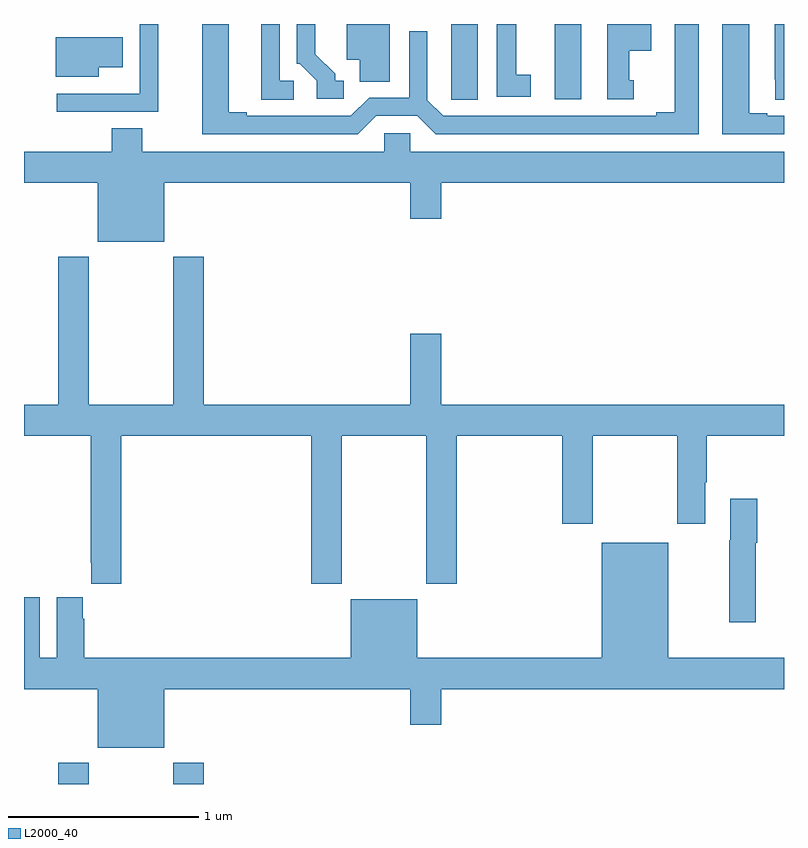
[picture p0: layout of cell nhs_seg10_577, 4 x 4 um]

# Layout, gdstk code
import gdstk
lib = gdstk.Library(unit=1e-6, precision=1e-09)
def R(c, l, rs):  # rectangles x0, y0, x1, y1
    for r in rs: c.add(gdstk.rectangle(r[:2], r[2:], *l))
def P(c, l, *ps):  # polygons
    for p in ps: c.add(gdstk.Polygon(p, *l))
L2000_40 = (2000, 40)

nhs_seg10_577 = lib.new_cell('nhs_seg10_577')
R(nhs_seg10_577, L2000_40, [(139.181,1282.5,139.341,1282.612), (139.786,1282.5,139.946,1282.612), (141.794,1286.103,141.934,1286.5)])
P(nhs_seg10_577, L2000_40, [(139.707,1286.5),(139.608,1286.5),(139.608,1286.134),(139.607,1286.134),(139.607,1286.133),(139.173,1286.133),(139.173,1286.037),(139.707,1286.037)],
  [(140.683,1286.202),(140.638,1286.202),(140.638,1286.237),(140.533,1286.342),(140.533,1286.5),(140.436,1286.5),(140.436,1286.292),(140.451,1286.292),(140.541,1286.202),(140.541,1286.106),(140.683,1286.106)],
  [(142.21,1286.205),(142.186,1286.205),(142.186,1286.36),(142.3,1286.36),(142.3,1286.5),(142.07,1286.5),(142.07,1286.103),(142.21,1286.103)],
  [(141.667,1286.234),(141.592,1286.234),(141.592,1286.5),(141.488,1286.5),(141.488,1286.118),(141.667,1286.118)],
  [(140.853,1286.016),(141.071,1286.016),(141.167,1285.92),(142.552,1285.92),(142.552,1286.5),(142.424,1286.5),(142.424,1286.036),(142.328,1286.036),(142.328,1286.016),(141.207,1286.016),(141.123,1286.1),(141.123,1286.461),(141.027,1286.461),(141.027,1286.112),(140.817,1286.112),(140.721,1286.016),(140.173,1286.016),(140.173,1286.036),(140.077,1286.036),(140.077,1286.5),(139.937,1286.5),(139.937,1285.92),(140.757,1285.92)],
  [(143,1286.016),(142.912,1286.016),(142.912,1286.031),(142.816,1286.031),(142.816,1286.5),(142.676,1286.5),(142.676,1285.92),(143,1285.92)],
  [(140.419,1286.202),(140.346,1286.202),(140.346,1286.5),(140.249,1286.5),(140.249,1286.101),(140.419,1286.101)],
  [(143,1286.5),(142.952,1286.5),(142.952,1286.209),(142.953,1286.209),(142.953,1286.101),(143,1286.101)],
  [(140.926,1286.5),(140.699,1286.5),(140.699,1286.312),(140.768,1286.312),(140.768,1286.197),(140.926,1286.197)],
  [(141.388,1286.5),(141.248,1286.5),(141.248,1286.209),(141.249,1286.209),(141.249,1286.101),(141.388,1286.101)],
  [(139.393,1286.273),(139.519,1286.273),(139.519,1286.431),(139.166,1286.431),(139.166,1286.222),(139.393,1286.222)],
  [(139.738,1285.664),(141.032,1285.664),(141.032,1285.476),(141.196,1285.476),(141.196,1285.664),(143,1285.664),(143,1285.828),(141.033,1285.828),(141.033,1285.926),(140.895,1285.926),(140.895,1285.828),(139.623,1285.828),(139.623,1285.952),(139.463,1285.952),(139.463,1285.828),(139,1285.828),(139,1285.664),(139.388,1285.664),(139.388,1285.355),(139.738,1285.355)],
  [(139.511,1284.332),(140.513,1284.332),(140.513,1283.553),(140.673,1283.553),(140.673,1284.332),(141.118,1284.332),(141.118,1283.553),(141.278,1283.553),(141.278,1284.332),(141.833,1284.332),(141.833,1283.871),(141.993,1283.871),(141.993,1284.332),(142.438,1284.332),(142.438,1283.871),(142.585,1283.871),(142.585,1284.088),(142.593,1284.088),(142.593,1284.332),(143,1284.332),(143,1284.496),(141.196,1284.496),(141.196,1284.871),(141.032,1284.871),(141.032,1284.496),(139.946,1284.496),(139.946,1285.276),(139.786,1285.276),(139.786,1284.496),(139.341,1284.496),(139.341,1285.276),(139.181,1285.276),(139.181,1284.496),(139,1284.496),(139,1284.332),(139.351,1284.332),(139.351,1283.665),(139.355,1283.665),(139.355,1283.553),(139.511,1283.553)],
  [(142.852,1283.77),(142.86,1283.77),(142.86,1284.001),(142.718,1284.001),(142.718,1283.783),(142.711,1283.783),(142.711,1283.352),(142.852,1283.352)],
  [(139.738,1283),(141.032,1283),(141.032,1282.812),(141.196,1282.812),(141.196,1283),(143,1283),(143,1283.164),(142.39,1283.164),(142.39,1283.77),(142.04,1283.77),(142.04,1283.164),(141.07,1283.164),(141.07,1283.473),(140.72,1283.473),(140.72,1283.164),(139.316,1283.164),(139.316,1283.369),(139.309,1283.369),(139.309,1283.482),(139.172,1283.482),(139.172,1283.164),(139.084,1283.164),(139.084,1283.482),(139,1283.482),(139,1283),(139.388,1283),(139.388,1282.691),(139.738,1282.691)])

lib.write_gds('nhs_seg10_577.gds')
